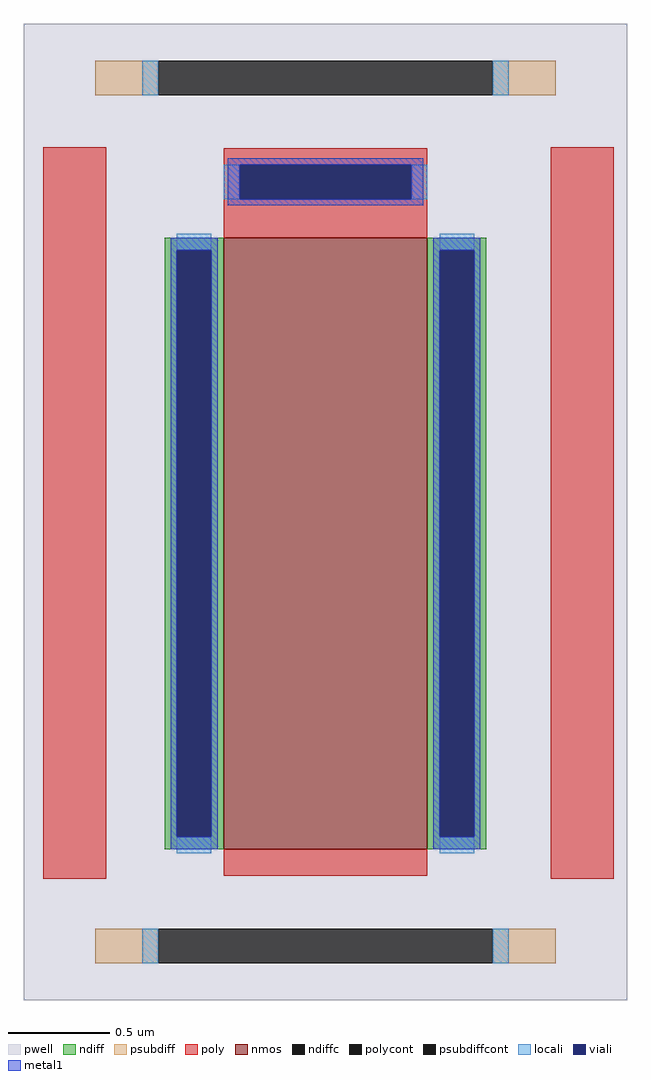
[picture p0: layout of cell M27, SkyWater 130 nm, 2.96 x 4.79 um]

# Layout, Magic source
magic
tech sky130B
magscale 1 2
<< pwell >>
rect -296 -479 296 479
<< nmos >>
rect -100 -331 100 269
<< ndiff >>
rect -158 257 -100 269
rect -158 -319 -146 257
rect -112 -319 -100 257
rect -158 -331 -100 -319
rect 100 257 158 269
rect 100 -319 112 257
rect 146 -319 158 257
rect 100 -331 158 -319
<< ndiffc >>
rect -146 -319 -112 257
rect 112 -319 146 257
<< psubdiff >>
rect -226 409 -164 443
rect 164 409 226 443
rect -226 -443 -164 -409
rect 164 -443 226 -409
<< psubdiffcont >>
rect -164 409 164 443
rect -164 -443 164 -409
<< poly >>
rect -277 -360 -215 358
rect -100 341 100 357
rect -100 307 -84 341
rect 84 307 100 341
rect -100 269 100 307
rect -100 -357 100 -331
rect 221 -360 283 358
<< polycont >>
rect -84 307 84 341
<< locali >>
rect -180 409 -164 443
rect 164 409 180 443
rect -100 307 -84 341
rect 84 307 100 341
rect -146 257 -112 273
rect -146 -335 -112 -319
rect 112 257 146 273
rect 112 -335 146 -319
rect -180 -443 -164 -409
rect 164 -443 180 -409
<< viali >>
rect -84 307 84 341
rect -146 -319 -112 257
rect 112 -319 146 257
<< metal1 >>
rect -96 341 96 347
rect -96 307 -84 341
rect 84 307 96 341
rect -96 301 96 307
rect -152 257 -106 269
rect -152 -319 -146 257
rect -112 -319 -106 257
rect -152 -331 -106 -319
rect 106 257 152 269
rect 106 -319 112 257
rect 146 -319 152 257
rect 106 -331 152 -319
<< properties >>
string FIXED_BBOX -243 -426 243 426
string gencell sky130_fd_pr__nfet_01v8
string library sky130
string parameters w 3 l 1 m 1 nf 1 diffcov 100 polycov 100 guard 1 glc 0 grc 0 gtc 1 gbc 1 tbcov 100 rlcov 100 topc 1 botc 0 poverlap 0 doverlap 1 lmin 0.15 wmin 0.42 compatible {sky130_fd_pr__nfet_01v8 sky130_fd_pr__nfet_01v8_lvt  sky130_fd_bs_flash__special_sonosfet_star  sky130_fd_pr__nfet_g5v0d10v5 sky130_fd_pr__nfet_05v0_nvt  sky130_fd_pr__nfet_03v3_nvt} full_metal 0 viasrc 100 viadrn 100 viagate 100 viagb 0 viagr 0 viagl 0 viagt 0
<< end >>
